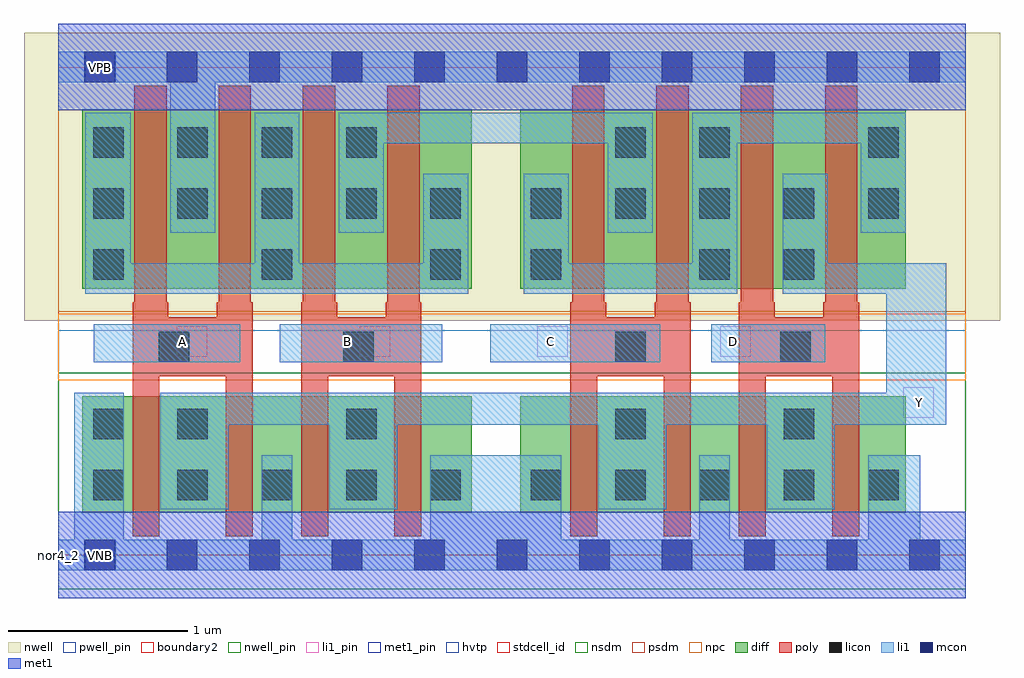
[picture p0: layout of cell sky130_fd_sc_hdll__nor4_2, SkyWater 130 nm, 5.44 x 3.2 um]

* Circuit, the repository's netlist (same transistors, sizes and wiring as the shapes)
* Copyright 2020 The SkyWater PDK Authors
*
* Licensed under the Apache License, Version 2.0 (the "License");
* you may not use this file except in compliance with the License.
* You may obtain a copy of the License at
*
*     https://www.apache.org/licenses/LICENSE-2.0
*
* Unless required by applicable law or agreed to in writing, software
* distributed under the License is distributed on an "AS IS" BASIS,
* WITHOUT WARRANTIES OR CONDITIONS OF ANY KIND, either express or implied.
* See the License for the specific language governing permissions and
* limitations under the License.
*
* SPDX-License-Identifier: Apache-2.0

.SUBCKT sky130_fd_sc_hdll__nor4_2 A B C D VGND VNB VPB VPWR Y
*.PININFO A:I B:I C:I D:I VGND:I VNB:I VPB:I VPWR:I Y:O
MMP0 VPWR A sndPA VPB sky130_fd_pr__pfet_01v8_hvt m=2 w=1.0U l=0.18U mult=1 sa=0.265
+ sb=0.265 sd=0.28 area=0.028 perim=0.76
MMP1 sndPA B sndPB VPB sky130_fd_pr__pfet_01v8_hvt m=2 w=1.0U l=0.18U mult=1 sa=0.265
+ sb=0.265 sd=0.28 area=0.028 perim=0.76
MMP2 sndPB C sndPC VPB sky130_fd_pr__pfet_01v8_hvt m=2 w=1.0U l=0.18U mult=1 sa=0.265
+ sb=0.265 sd=0.28 area=0.028 perim=0.76
MMP3 sndPC D Y VPB sky130_fd_pr__pfet_01v8_hvt m=2 w=1.0U l=0.18U mult=1 sa=0.265
+ sb=0.265 sd=0.28 area=0.028 perim=0.76
MMN0 Y A VGND VNB sky130_fd_pr__nfet_01v8 m=2 w=0.65U l=0.15U mult=1 sa=0.265 sb=0.265
+ sd=0.28 area=0.028 perim=0.76
MMN1 Y B VGND VNB sky130_fd_pr__nfet_01v8 m=2 w=0.65U l=0.15U mult=1 sa=0.265 sb=0.265
+ sd=0.28 area=0.028 perim=0.76
MMN2 Y C VGND VNB sky130_fd_pr__nfet_01v8 m=2 w=0.65U l=0.15U mult=1 sa=0.265 sb=0.265
+ sd=0.28 area=0.028 perim=0.76
MMN3 Y D VGND VNB sky130_fd_pr__nfet_01v8 m=2 w=0.65U l=0.15U mult=1 sa=0.265 sb=0.265
+ sd=0.28 area=0.028 perim=0.76
.ENDS sky130_fd_sc_hdll__nor4_2

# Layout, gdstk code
import gdstk
lib = gdstk.Library(unit=1e-6, precision=1e-09)
def R(c, l, rs):  # rectangles x0, y0, x1, y1
    for r in rs: c.add(gdstk.rectangle(r[:2], r[2:], *l))
def A(c, l, x, y, w, h, nx, ny, dx, dy):  # array of equal rectangles
    R(c, l, [(x+i*dx, y+j*dy, x+i*dx+w, y+j*dy+h) for i in range(nx) for j in range(ny)])
def P(c, l, *ps):  # polygons
    for p in ps: c.add(gdstk.Polygon(p, *l))
nwell_pin = (64, 16)
nwell = (64, 20)
diff = (65, 20)
poly = (66, 20)
licon = (66, 44)
li1_pin = (67, 16)
li1 = (67, 20)
mcon = (67, 44)
met1_pin = (68, 16)
met1 = (68, 20)
hvtp = (78, 44)
stdcell_id = (81, 4)
nsdm = (93, 44)
psdm = (94, 20)
npc = (95, 20)
pwell_pin = (122, 16)
boundary2 = (236, 0)

sky130_fd_sc_hdll__nor4_ = lib.new_cell('sky130_fd_sc_hdll__nor4_2')
R(sky130_fd_sc_hdll__nor4_, nwell_pin, [(0.15,2.635,0.32,2.805)])
R(sky130_fd_sc_hdll__nor4_, nwell, [(-0.19,1.305,5.25,2.91)])
R(sky130_fd_sc_hdll__nor4_, diff, [(0.135,0.235,2.305,0.885), (2.575,0.235,4.725,0.885), (0.135,1.485,2.305,2.485), (2.575,1.485,4.725,2.485)])
P(sky130_fd_sc_hdll__nor4_, poly, [(1.085,1.41),(1.075,1.41),(1.075,2.615),(0.895,2.615),(0.895,1.41),(0.885,1.41),(0.885,1.325),(0.615,1.325),(0.615,1.41),(0.605,1.41),(0.605,2.615),(0.425,2.615),(0.425,1.41),(0.415,1.41),(0.415,0.105),(0.565,0.105),(0.565,0.995),(0.935,0.995),(0.935,0.105),(1.085,0.105)],
  [(2.025,1.41),(2.015,1.41),(2.015,2.615),(1.835,2.615),(1.835,1.41),(1.825,1.41),(1.825,1.325),(1.555,1.325),(1.555,1.41),(1.545,1.41),(1.545,2.615),(1.365,2.615),(1.365,1.41),(1.355,1.41),(1.355,0.105),(1.505,0.105),(1.505,0.995),(1.875,0.995),(1.875,0.105),(2.025,0.105)],
  [(3.525,1.41),(3.515,1.41),(3.515,2.615),(3.335,2.615),(3.335,1.41),(3.325,1.41),(3.325,1.325),(3.055,1.325),(3.055,1.41),(3.045,1.41),(3.045,2.615),(2.865,2.615),(2.865,1.41),(2.855,1.41),(2.855,0.105),(3.005,0.105),(3.005,0.995),(3.375,0.995),(3.375,0.105),(3.525,0.105)],
  [(4.465,1.41),(4.455,1.41),(4.455,2.615),(4.275,2.615),(4.275,1.41),(4.265,1.41),(4.265,1.325),(3.995,1.325),(3.995,1.41),(3.985,1.41),(3.985,2.615),(3.805,2.615),(3.805,1.41),(3.795,1.41),(3.795,0.105),(3.945,0.105),(3.945,0.995),(4.315,0.995),(4.315,0.105),(4.465,0.105)])
A(sky130_fd_sc_hdll__nor4_, licon, 0.195, 0.305, 0.17, 0.17, 5, 2, 0.47, 1.57)
A(sky130_fd_sc_hdll__nor4_, licon, 2.635, 0.305, 0.17, 0.17, 5, 2, 0.47, 1.57)
A(sky130_fd_sc_hdll__nor4_, licon, 0.195, 1.535, 0.17, 0.17, 3, 1, 0.94, 0)
A(sky130_fd_sc_hdll__nor4_, licon, 0.195, 2.215, 0.17, 0.17, 4, 1, 0.47, 0)
R(sky130_fd_sc_hdll__nor4_, licon, [(0.195,0.645,0.365,0.815), (0.665,0.645,0.835,0.815), (1.605,0.645,1.775,0.815), (3.105,0.645,3.275,0.815), (4.045,0.645,4.215,0.815), (0.56,1.075,0.73,1.245), (1.59,1.075,1.76,1.245), (3.105,1.075,3.275,1.245), (4.025,1.075,4.195,1.245), (2.635,1.535,2.805,1.705), (3.575,1.535,3.745,1.705), (4.045,1.535,4.215,1.705), (3.105,2.215,3.275,2.385), (3.575,2.215,3.745,2.385), (4.515,2.215,4.685,2.385)])
R(sky130_fd_sc_hdll__nor4_, li1_pin, [(4.71,0.765,4.88,0.935), (0.66,1.105,0.83,1.275), (1.68,1.105,1.85,1.275), (2.67,1.105,2.84,1.275), (3.69,1.105,3.86,1.275)])
R(sky130_fd_sc_hdll__nor4_, li1, [(0.2,1.075,1.015,1.285), (1.235,1.075,2.14,1.285), (2.41,1.075,3.355,1.285), (3.64,1.075,4.275,1.285)])
P(sky130_fd_sc_hdll__nor4_, li1, [(5.06,0.085),(4.805,0.085),(4.805,0.555),(4.515,0.555),(4.515,0.085),(3.745,0.085),(3.745,0.555),(3.575,0.555),(3.575,0.085),(2.805,0.085),(2.805,0.555),(2.075,0.555),(2.075,0.085),(1.305,0.085),(1.305,0.555),(1.135,0.555),(1.135,0.085),(0.365,0.085),(0.365,0.905),(0.09,0.905),(0.09,0.085),(0,0.085),(0,-0.085),(5.06,-0.085)],
  [(5.06,2.805),(0,2.805),(0,2.635),(0.625,2.635),(0.625,1.795),(0.875,1.795),(0.875,2.635),(5.06,2.635)],
  [(2.285,2.125),(2.035,2.125),(2.035,1.625),(1.345,1.625),(1.345,2.465),(1.095,2.465),(1.095,1.625),(0.405,1.625),(0.405,2.465),(0.15,2.465),(0.15,1.455),(2.285,1.455)],
  [(3.315,2.465),(1.565,2.465),(1.565,1.795),(1.815,1.795),(1.815,2.295),(3.065,2.295),(3.065,1.795),(3.315,1.795)],
  [(4.725,2.465),(3.535,2.465),(3.535,1.625),(2.845,1.625),(2.845,2.125),(2.595,2.125),(2.595,1.455),(3.785,1.455),(3.785,2.295),(4.475,2.295),(4.475,1.795),(4.725,1.795)],
  [(4.95,1.625),(4.29,1.625),(4.29,2.125),(4.04,2.125),(4.04,1.455),(4.615,1.455),(4.615,0.905),(0.57,0.905),(0.57,0.255),(0.95,0.255),(0.95,0.725),(1.51,0.725),(1.51,0.255),(1.89,0.255),(1.89,0.725),(3.01,0.725),(3.01,0.255),(3.39,0.255),(3.39,0.725),(3.95,0.725),(3.95,0.255),(4.33,0.255),(4.33,0.725),(4.95,0.725)])
A(sky130_fd_sc_hdll__nor4_, mcon, 0.145, -0.085, 0.17, 0.17, 11, 2, 0.46, 2.72)
R(sky130_fd_sc_hdll__nor4_, met1_pin, [(0.15,-0.085,0.32,0.085), (0.15,2.635,0.32,2.805)])
R(sky130_fd_sc_hdll__nor4_, met1, [(0,-0.24,5.06,0.24), (0,2.48,5.06,2.96)])
R(sky130_fd_sc_hdll__nor4_, hvtp, [(0,1.25,5.06,2.72)])
R(sky130_fd_sc_hdll__nor4_, stdcell_id, [(0,0,5.06,2.72)])
R(sky130_fd_sc_hdll__nor4_, nsdm, [(0,-0.19,5.06,1.015)])
R(sky130_fd_sc_hdll__nor4_, psdm, [(0,1.355,5.06,2.91)])
R(sky130_fd_sc_hdll__nor4_, npc, [(0,0.975,5.06,1.345)])
R(sky130_fd_sc_hdll__nor4_, pwell_pin, [(0.15,-0.085,0.32,0.085)])
R(sky130_fd_sc_hdll__nor4_, boundary2, [(0,0,5.06,2.72)])
sky130_fd_sc_hdll__nor4_.add(gdstk.Label('C', (2.745,1.19), layer=67, texttype=5))
sky130_fd_sc_hdll__nor4_.add(gdstk.Label('D', (3.765,1.19), layer=67, texttype=5))
sky130_fd_sc_hdll__nor4_.add(gdstk.Label('Y', (4.8,0.85), layer=67, texttype=5))
sky130_fd_sc_hdll__nor4_.add(gdstk.Label('A', (0.695,1.19), layer=67, texttype=5))
sky130_fd_sc_hdll__nor4_.add(gdstk.Label('B', (1.615,1.19), layer=67, texttype=5))
sky130_fd_sc_hdll__nor4_.add(gdstk.Label('VNB', (0.235,0), layer=64, texttype=59))
sky130_fd_sc_hdll__nor4_.add(gdstk.Label('VPB', (0.235,2.72), layer=64, texttype=5))
sky130_fd_sc_hdll__nor4_.add(gdstk.Label('VGND', (0.23,0), layer=68, texttype=5))
sky130_fd_sc_hdll__nor4_.add(gdstk.Label('VPWR', (0.23,2.72), layer=68, texttype=5))
sky130_fd_sc_hdll__nor4_.add(gdstk.Label('nor4_2', (0,0), layer=83, texttype=44))

lib.write_gds('sky130_fd_sc_hdll__nor4_2.gds')
